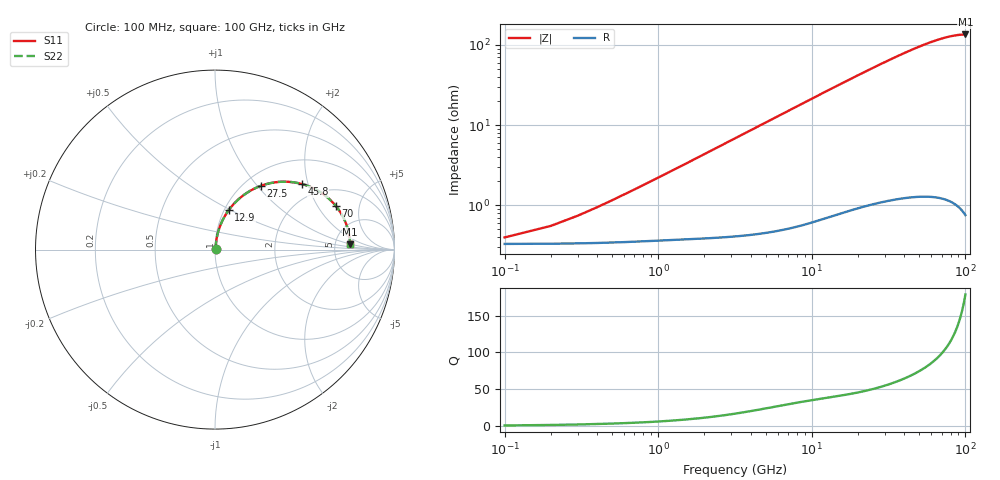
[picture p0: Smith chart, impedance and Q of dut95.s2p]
! Touchstone file exported from HFSS 2026.1.0
!  File:  C:/ffzhzh/LocalFiles/Ansys_Project_Files/temp_train_RDL_95_1783499033_44152.aedt
!  Generated:  04:25:01 PM Jul  8, 2026
!  Design:  RDL
!  Project:  temp_train_RDL_95_1783499033_44152
! Variables:
!  h_bsmrdl = 2um
!  h_ox = 20um
!  h_rdl = 5um
!  h_sub = 80um
!  h_tmrdl = 2.91um
!  h_tsv = 80um
!  h_via = 3um
!  l_bsmrdl = 300um
!  l_sub = 668.07um
!  l_tmrdl = 268.07um
!  m_sub = 200um
!  pitch = 53.56um
!  r_tsv = 6um
!  s_tmrdl = 10um
!  w_bsmrdl = 18um
!  w_sub = 500um
!  w_tmrdl = 10.3um
!  x_tsv_center1 = 273.22um
!  x_tsv_center2 = 591.22um
!  x_tsv_center3 = 869.59um
!  x_tsv_center4 = 1187.59um
!  x_tsv_center5 = 1465.96um
!  x_tsv_center6 = 1783.96um
# GHz S MA R 50.000000
! Terminal data exported
! Port[1] = TM_RDL1_1_T1
! Port[2] = TM_RDL1_1_T2
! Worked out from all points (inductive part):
!   1000 points, 100 MHz to 100 GHz, reference 50 ohm
!   read as one part in series: L = 348 pH near 600 MHz
!   highest Q = 179 at 100 GHz (marker M1), where L = 214 pH
!   S11 on the Smith chart (normalised r, x): 100 MHz: 1.01, +0.00; 12.9 GHz: 1.05, +0.48; 27.5 GHz: 1.19, +1.05; 45.8 GHz: 1.58, +1.83; 70 GHz: 2.95, +2.94; 100 GHz: 6.98, +0.97
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0.1  0.003815 30.4  0.9967 -0.1  0.9967 -0.1  0.003815 30.4
! Gamma 0 0 0 0
! Port Impedance 50 0 50 0
0.4  0.008427 65.8  0.9966 -0.6  0.9966 -0.6  0.008427 65.8
0.9  0.01755 77.0  0.9963 -1.3  0.9963 -1.3  0.01754 77.0
1.1  0.02124 78.6  0.9961 -1.5  0.9961 -1.5  0.02124 78.6
1.4  0.02679 80.1  0.9959 -1.9  0.9959 -1.9  0.02679 80.1
1.8  0.03422 81.1  0.9956 -2.5  0.9956 -2.5  0.03422 81.1
2.3  0.04351 81.7  0.9952 -3.2  0.9952 -3.2  0.04351 81.7
3.4  0.06391 81.6  0.9939 -4.7  0.9939 -4.7  0.06391 81.6
5  0.09338 80.4  0.9912 -6.9  0.9912 -6.9  0.09338 80.4
7.1  0.1314 78.1  0.9863 -9.7  0.9863 -9.7  0.1314 78.1
9.7  0.1773 74.9  0.9783 -13.2  0.9783 -13.2  0.1773 74.9
12.9  0.2313 71.0  0.966 -17.3  0.966 -17.3  0.2313 71.0
16.8  0.2933 66.2  0.9482 -22.2  0.9482 -22.2  0.2933 66.2
21.7  0.3643 60.5  0.9224 -28.1  0.9224 -28.1  0.3643 60.5
27.5  0.4384 54.2  0.8892 -34.5  0.8892 -34.5  0.4384 54.2
33.4  0.5029 48.2  0.8544 -40.6  0.8544 -40.6  0.5029 48.2
45.8  0.6061 37.1  0.7852 -51.9  0.7852 -51.9  0.6061 37.1
50.1  0.6332 33.7  0.7639 -55.4  0.7639 -55.4  0.6332 33.7
66.7  0.7063 21.9  0.6983 -67.4  0.6983 -67.4  0.7063 21.9
70  0.7161 19.8  0.6885 -69.5  0.6885 -69.5  0.716 19.8
83.4  0.7432 11.7  0.66 -77.7  0.66 -77.7  0.7431 11.7
100  0.7537 2.3  0.6482 -87.3  0.6482 -87.3  0.7537 2.3
